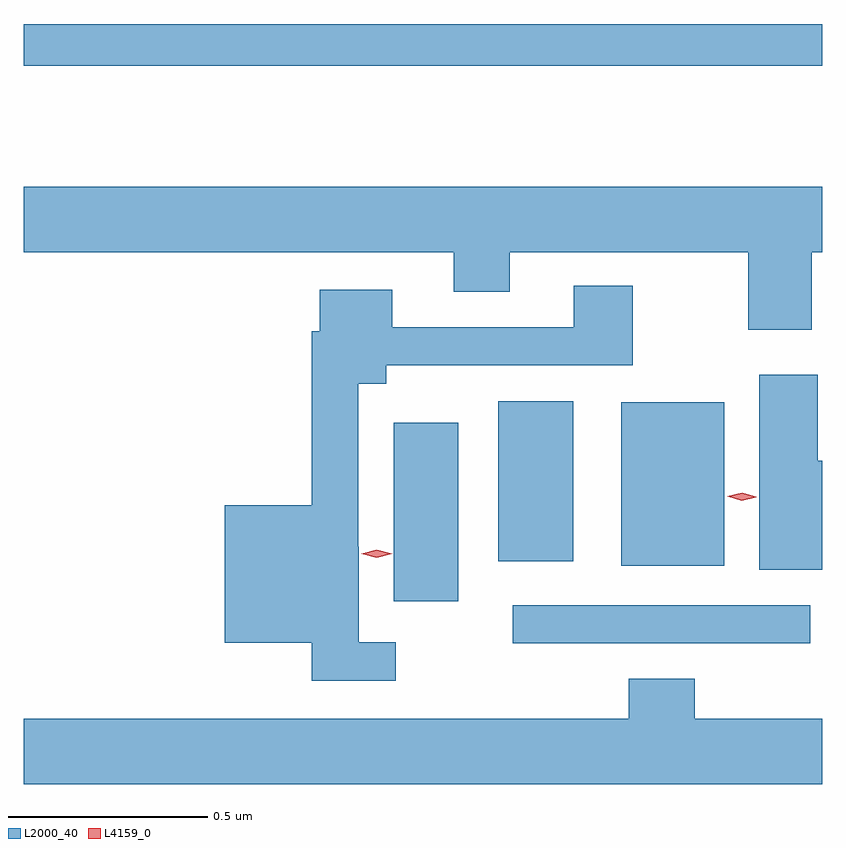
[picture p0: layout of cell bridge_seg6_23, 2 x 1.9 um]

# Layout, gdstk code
import gdstk
lib = gdstk.Library(unit=1e-6, precision=1e-09)
def R(c, l, rs):  # rectangles x0, y0, x1, y1
    for r in rs: c.add(gdstk.rectangle(r[:2], r[2:], *l))
def P(c, l, *ps):  # polygons
    for p in ps: c.add(gdstk.Polygon(p, *l))
L2000_40 = (2000, 40)
L4159_0 = (4159, 0)

bridge_seg6_23 = lib.new_cell('bridge_seg6_23')
R(bridge_seg6_23, L2000_40, [(965.931,992.976,966.676,993.072), (965.633,993.081,965.794,993.529), (966.203,993.17,966.46,993.58), (965.894,993.182,966.082,993.583), (964.706,994.422,966.706,994.527)])
P(bridge_seg6_23, L2000_40, [(966.68,993.956),(966.706,993.956),(966.706,994.12),(964.706,994.12),(964.706,993.956),(965.783,993.956),(965.783,993.857),(965.923,993.857),(965.923,993.956),(966.52,993.956),(966.52,993.762),(966.68,993.762)],
  [(965.638,992.979),(965.545,992.979),(965.545,993.218),(965.544,993.218),(965.544,993.626),(965.614,993.626),(965.614,993.672),(966.231,993.672),(966.231,993.871),(966.083,993.871),(966.083,993.768),(965.629,993.768),(965.629,993.862),(965.447,993.862),(965.447,993.758),(965.428,993.758),(965.428,993.322),(965.21,993.322),(965.21,992.978),(965.428,992.978),(965.428,992.883),(965.638,992.883)],
  [(966.706,993.433),(966.695,993.433),(966.695,993.649),(966.548,993.649),(966.548,993.161),(966.706,993.161)],
  [(966.706,992.788),(966.386,992.788),(966.386,992.887),(966.221,992.887),(966.221,992.788),(964.706,992.788),(964.706,992.624),(966.706,992.624)])
P(bridge_seg6_23, L4159_0, [(966.504,993.333),(966.468,993.344),(966.468,993.344),(966.468,993.344),(966.505,993.353),(966.541,993.343),(966.541,993.342),(966.541,993.342)],
  [(965.59,993.191),(965.551,993.201),(965.551,993.201),(965.551,993.201),(965.59,993.211),(965.629,993.201),(965.629,993.201),(965.629,993.201)])

lib.write_gds('bridge_seg6_23.gds')
